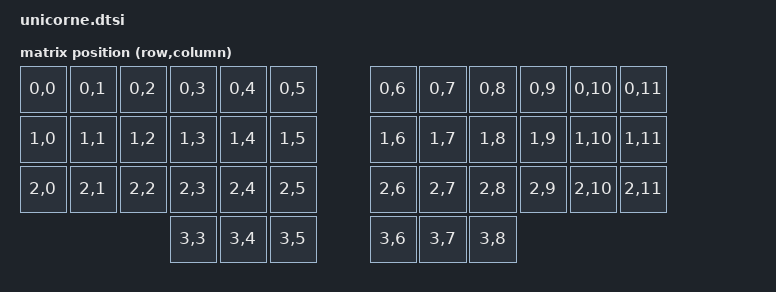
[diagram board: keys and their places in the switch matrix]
#include <dt-bindings/zmk/matrix_transform.h> 
#include <dt-bindings/led/led.h>

/ {
    chosen {
      zmk,kscan = &kscan0;
      zmk,physical-layout = &physical_layout0;
      zmk,battery = &vbatt;
      zephyr,display = &oled;
      zmk,underglow = &led_strip;
    };

    widgets {
      compatible = "zmk,display-widgets";
      
      default_status {
        compatible = "zmk,widget-status";
      };
    };


    physical_layout0: physical_layout_0 {
      compatible = "zmk,physical-layout";
      display-name = "Default Layout";
      kscan = <&kscan0>; 
      transform = <&default_transform>; 
    };

    kscan0: kscan0 {
      compatible = "zmk,kscan-gpio-matrix";
      diode-direction = "col2row";
      wakeup-source;
    };

    default_transform: keymap_transform0 {
      compatible = "zmk,matrix-transform";
      columns = <12>;
      rows = <4>;
      map = <
        RC(0,0) RC(0,1) RC(0,2) RC(0,3) RC(0,4) RC(0,5)   RC(0,6) RC(0,7) RC(0,8) RC(0,9) RC(0,10) RC(0,11)
        RC(1,0) RC(1,1) RC(1,2) RC(1,3) RC(1,4) RC(1,5)   RC(1,6) RC(1,7) RC(1,8) RC(1,9) RC(1,10) RC(1,11)
        RC(2,0) RC(2,1) RC(2,2) RC(2,3) RC(2,4) RC(2,5)   RC(2,6) RC(2,7) RC(2,8) RC(2,9) RC(2,10) RC(2,11)
                                RC(3,3) RC(3,4) RC(3,5)   RC(3,6) RC(3,7) RC(3,8) 
      >;
    };
};


&pinctrl {
    spi3_default: spi3_default {
        group1 {
            psels = <NRF_PSEL(SPIM_MOSI, 0, 6)>;
        };
    };

    spi3_sleep: spi3_sleep {
        group1 {
            psels = <NRF_PSEL(SPIM_MOSI, 0, 6)>;
            low-power-enable;
        };
    };
};

&spi3 {
    compatible = "nordic,nrf-spim";
    status = "okay";

    pinctrl-0 = <&spi3_default>;
    pinctrl-1 = <&spi3_sleep>;
    pinctrl-names = "default", "sleep";

    led_strip: ws2812@0 {
        compatible = "worldsemi,ws2812-spi";

        /* SPI */
        reg = <0>; /* ignored, but necessary for SPI bindings */
        spi-max-frequency = <4000000>;

        /* WS2812 */
        chain-length = <10>; /* number of LEDs */
        spi-one-frame = <0x70>;
        spi-zero-frame = <0x40>;
        color-mapping = <LED_COLOR_ID_GREEN
                         LED_COLOR_ID_RED
                         LED_COLOR_ID_BLUE>;
    };
};
